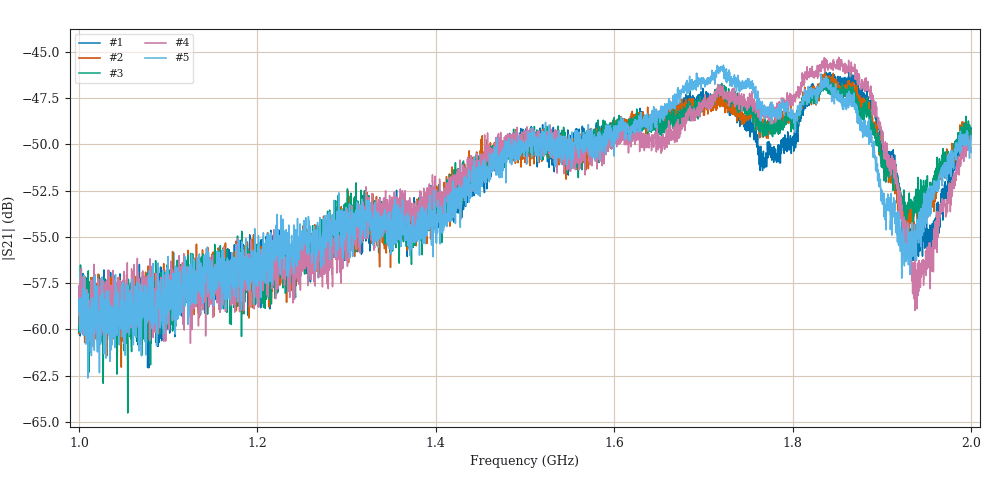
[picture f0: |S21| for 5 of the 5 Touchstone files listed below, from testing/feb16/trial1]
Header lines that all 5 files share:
!Keysight Technologies N9923A: A.08.15
!Timezone: (GMT-05:00) Eastern Time (US & Canada)
!Model: N9923A
!Serial: MY52412730
!GPS Latitude:
!GPS Longitude:
!GPS TimeStamp: 0001-01-01 00:00:00Z
!GPS Seconds Since Last Read: 0
!Correction: S11(ON Q)S21(ON Q)S12(ON Q)S22(ON Q)
!S2P File: Measurements:S11,S21,S12,S22:
# Hz S DB R 50
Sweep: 1 GHz to 2 GHz
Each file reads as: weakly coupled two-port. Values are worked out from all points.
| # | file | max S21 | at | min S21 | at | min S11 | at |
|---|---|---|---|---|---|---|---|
| 1 | test0.s2p | -45.98 dB | 1.865 GHz | -62.1 dB | 1.078 GHz | -10.5 dB | 1.635 GHz |
| 2 | test1.s2p | -46.16 dB | 1.845 GHz | -62.1 dB | 1.027 GHz | -10.5 dB | 1.636 GHz |
| 3 | test2.s2p | -46.43 dB | 1.841 GHz | -64.5 dB | 1.055 GHz | -10.5 dB | 1.635 GHz |
| 4 | test4.s2p | -45.29 dB | 1.852 GHz | -60.9 dB | 1.015 GHz | -10.5 dB | 1.635 GHz |
| 5 | test5.s2p | -45.72 dB | 1.722 GHz | -62.6 dB | 1.01 GHz | -10.5 dB | 1.636 GHz |
